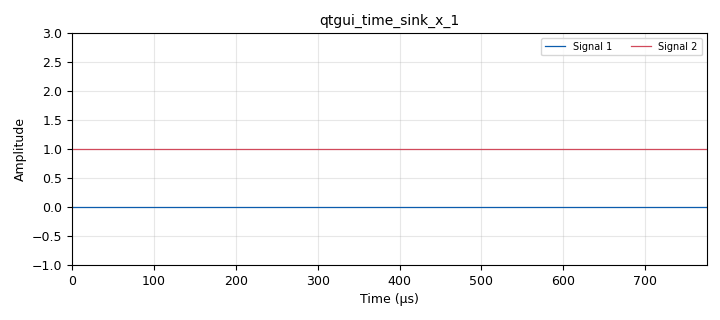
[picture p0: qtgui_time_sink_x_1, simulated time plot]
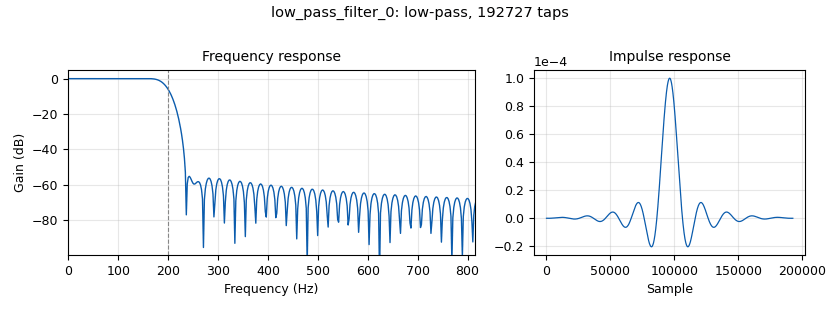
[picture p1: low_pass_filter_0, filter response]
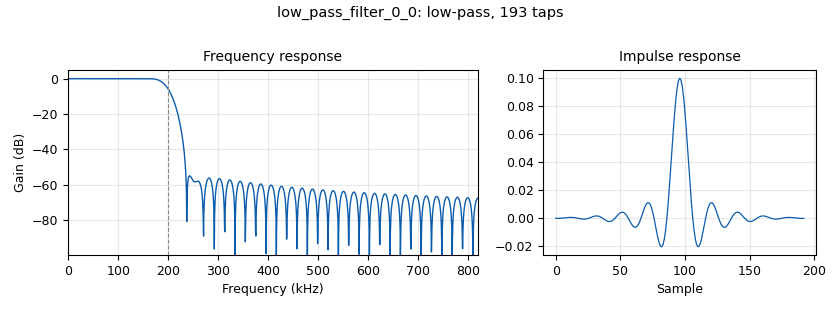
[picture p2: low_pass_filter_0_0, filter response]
options:
  parameters:
    author: ebaum
    generate_options: qt_gui
    id: soft_proto
    output_language: python
    title: Not titled yet
  states: {}

blocks:
- name: back_freq
  id: variable
  parameters:
    value: 100e3
  states: {}
- name: carrier_freq
  id: variable
  parameters:
    value: 915e6
  states: {}
- name: noise
  id: variable
  parameters:
    value: '0'
  states: {}
- name: samp_rate
  id: variable
  parameters:
    value: 4e6
  states: {}
- name: analog_pwr_squelch_xx_0
  id: analog_pwr_squelch_xx
  parameters:
    alpha: '1e-4'
    gate: 'False'
    ramp: '0'
    threshold: '-100'
    type: complex
  states: {}
- name: analog_sig_source_x_0
  id: analog_sig_source_x
  parameters:
    amp: '1'
    freq: carrier_freq
    offset: '0'
    phase: '0'
    samp_rate: samp_rate
    type: complex
    waveform: analog.GR_COS_WAVE
  states: {}
- name: analog_sig_source_x_1
  id: analog_sig_source_x
  parameters:
    amp: '1e-3'
    freq: back_freq
    offset: '0'
    phase: '0'
    samp_rate: samp_rate
    type: complex
    waveform: analog.GR_SQR_WAVE
  states: {}
- name: analog_sig_source_x_1_0
  id: analog_sig_source_x
  parameters:
    amp: '1'
    freq: '10'
    offset: '0'
    phase: '0'
    samp_rate: samp_rate
    type: complex
    waveform: analog.GR_SQR_WAVE
  states: {}
- name: analog_sig_source_x_2
  id: analog_sig_source_x
  parameters:
    amp: '1'
    freq: carrier_freq-back_freq
    offset: '0'
    phase: '0'
    samp_rate: samp_rate
    type: complex
    waveform: analog.GR_COS_WAVE
  states: {}
- name: blocks_add_xx_0
  id: blocks_add_xx
  parameters:
    type: complex
  states: {}
- name: blocks_complex_to_mag_squared_0
  id: blocks_complex_to_mag_squared
  parameters: {}
  states: {}
- name: blocks_complex_to_real_0
  id: blocks_complex_to_real
  parameters: {}
  states: {}
- name: blocks_multiply_const_vxx_0
  id: blocks_multiply_const_vxx
  parameters:
    const: 1e7
    type: float
  states: {}
- name: blocks_multiply_xx_0
  id: blocks_multiply_xx
  parameters:
    type: complex
  states: {}
- name: blocks_multiply_xx_1
  id: blocks_multiply_xx
  parameters:
    type: complex
  states: {}
- name: blocks_throttle_0
  id: blocks_throttle
  parameters:
    samples_per_second: samp_rate
    type: complex
  states: {}
- name: channels_channel_model_0
  id: channels_channel_model
  parameters:
    epsilon: '1.0'
    freq_offset: '0.0'
    noise_voltage: noise
    seed: '0'
    taps: 1.0 + 1.0j
  states: {}
- name: channels_channel_model_0_0
  id: channels_channel_model
  parameters:
    epsilon: '1.0'
    freq_offset: '0.0'
    noise_voltage: noise
    seed: '0'
    taps: 1.0 + 1.0j
  states: {}
- name: low_pass_filter_0
  id: low_pass_filter
  parameters:
    cutoff_freq: '200'
    decim: '100'
    gain: '1'
    samp_rate: samp_rate
    type: fir_filter_ccf
    width: '50'
    win: firdes.WIN_HAMMING
  states: {}
- name: low_pass_filter_0_0
  id: low_pass_filter
  parameters:
    cutoff_freq: 200e3
    decim: '100'
    gain: '1'
    samp_rate: samp_rate
    type: fir_filter_ccf
    width: 50e3
    win: firdes.WIN_HAMMING
  states: {}
- name: qtgui_freq_sink_x_0
  id: qtgui_freq_sink_x
  parameters:
    bw: samp_rate
    fc: carrier_freq
    fftsize: '1024'
    type: complex
    wintype: firdes.WIN_BLACKMAN_hARRIS
  states: {state: disabled}
- name: qtgui_freq_sink_x_1
  id: qtgui_freq_sink_x
  parameters:
    bw: samp_rate/100
    fc: '0'
    fftsize: '1024'
    type: complex
    wintype: firdes.WIN_BLACKMAN_hARRIS
  states: {state: disabled}
- name: qtgui_time_sink_x_0
  id: qtgui_time_sink_x
  parameters:
    ctrlpanel: 'True'
    size: '1024'
    srate: samp_rate
    type: complex
  states: {state: disabled}
- name: qtgui_time_sink_x_1
  id: qtgui_time_sink_x
  parameters:
    ctrlpanel: 'True'
    nconnections: '2'
    size: '32'
    srate: samp_rate/100
    type: float
    ymax: '3'
  states: {}

connections:
- [analog_pwr_squelch_xx_0, '0', low_pass_filter_0, '0']
- [analog_sig_source_x_0, '0', blocks_throttle_0, '0']
- [analog_sig_source_x_1, '0', blocks_multiply_xx_0, '0']
- [analog_sig_source_x_1_0, '0', blocks_multiply_xx_0, '1']
- [analog_sig_source_x_1_0, '0', low_pass_filter_0_0, '0']
- [analog_sig_source_x_2, '0', blocks_multiply_xx_1, '1']
- [blocks_add_xx_0, '0', channels_channel_model_0_0, '0']
- [blocks_complex_to_mag_squared_0, '0', blocks_multiply_const_vxx_0, '0']
- [blocks_complex_to_real_0, '0', qtgui_time_sink_x_1, '1']
- [blocks_multiply_const_vxx_0, '0', qtgui_time_sink_x_1, '0']
- [blocks_multiply_xx_0, '0', blocks_add_xx_0, '1']
- [blocks_multiply_xx_0, '0', qtgui_time_sink_x_0, '0']
- [blocks_multiply_xx_1, '0', analog_pwr_squelch_xx_0, '0']
- [blocks_throttle_0, '0', channels_channel_model_0, '0']
- [channels_channel_model_0, '0', blocks_add_xx_0, '0']
- [channels_channel_model_0_0, '0', blocks_multiply_xx_1, '0']
- [channels_channel_model_0_0, '0', qtgui_freq_sink_x_0, '0']
- [low_pass_filter_0, '0', blocks_complex_to_mag_squared_0, '0']
- [low_pass_filter_0, '0', qtgui_freq_sink_x_1, '0']
- [low_pass_filter_0_0, '0', blocks_complex_to_real_0, '0']

metadata:
  file_format: 1
